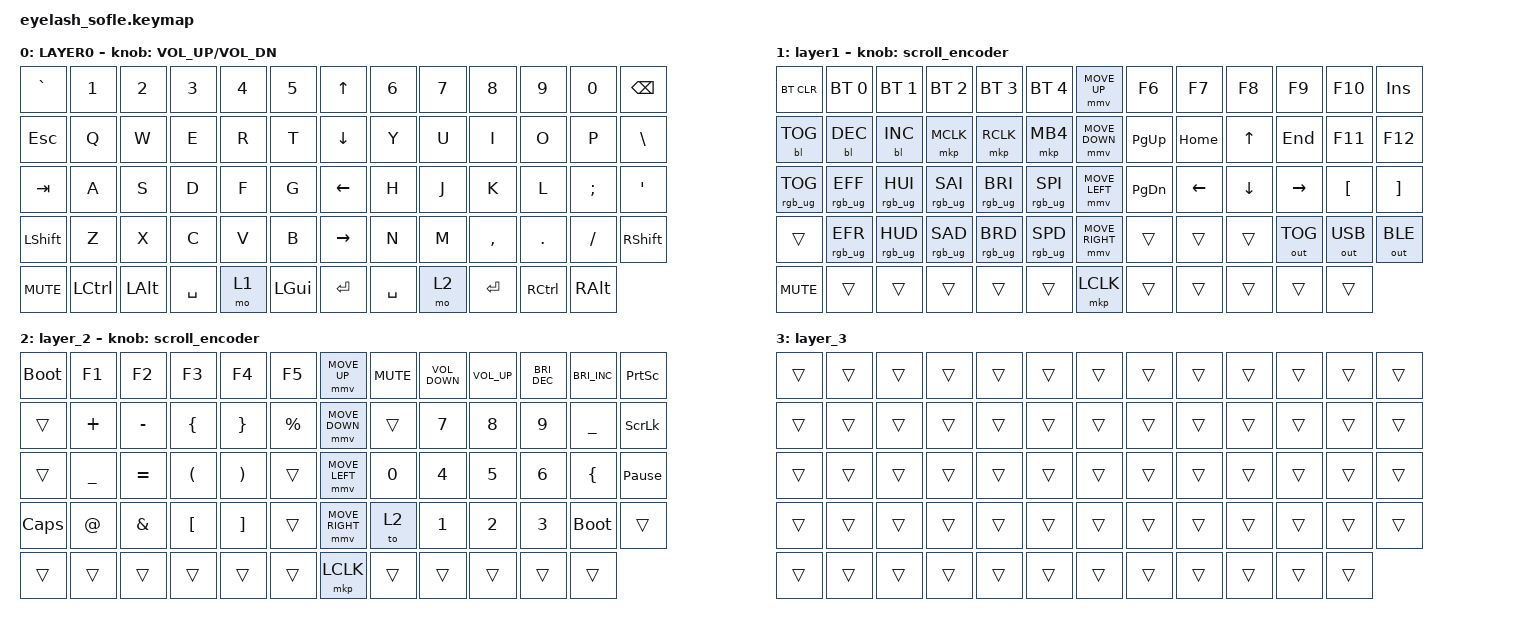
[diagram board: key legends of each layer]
#define ZMK_POINTING_DEFAULT_MOVE_VAL 1200  // 600
#define ZMK_POINTING_DEFAULT_SCRL_VAL 35    // 10

#include <input/processors.dtsi>
#include <zephyr/dt-bindings/input/input-event-codes.h>
#include <behaviors.dtsi>
#include <dt-bindings/zmk/backlight.h>
#include <dt-bindings/zmk/bt.h>
#include <dt-bindings/zmk/keys.h>
#include <dt-bindings/zmk/outputs.h>
#include <dt-bindings/zmk/pointing.h>
#include <dt-bindings/zmk/rgb.h>

/ {
    zip_scroll_scaler: zip_scroll_scaler {
        compatible = "zmk,input-processor-scaler";
        #input-processor-cells = <2>;
        type = <INPUT_EV_REL>;
        codes = <INPUT_REL_WHEEL INPUT_REL_HWHEEL>;
        track-remainders;
    };
};

&mmv_input_listener { input-processors = <&zip_xy_scaler 2 1>; };

&msc_input_listener { input-processors = <&zip_scroll_scaler 2 1>; };

&msc {
    acceleration-exponent = <0>;      // 0
    time-to-max-speed-ms = <0>;       // 300
    delay-ms = <0>;                   // 0
};

&mmv {
    time-to-max-speed-ms = <400>;
    acceleration-exponent = <1>;
};

/ {
    scroll_encoder: scroll_encoder {
        compatible = "zmk,behavior-sensor-rotate";
        #sensor-binding-cells = <0>;
        bindings = <&msc SCRL_DOWN>, <&msc SCRL_UP>;

        tap-ms = <30>;
    };

    behaviors {
    };

    keymap {
        compatible = "zmk,keymap";

        layer0 {
            bindings = <
&kp GRAVE   &kp N1     &kp N2        &kp N3     &kp N4  &kp N5          &kp UP_ARROW     &kp N6     &kp N7  &kp N8     &kp N9     &kp N0         &kp BACKSPACE
&kp ESCAPE  &kp Q      &kp W         &kp E      &kp R   &kp T           &kp DOWN_ARROW   &kp Y      &kp U   &kp I      &kp O      &kp P          &kp BSLH
&kp TAB     &kp A      &kp S         &kp D      &kp F   &kp G           &kp LEFT_ARROW   &kp H      &kp J   &kp K      &kp L      &kp SEMI       &kp APOS
&kp LSHFT   &kp Z      &kp X         &kp C      &kp V   &kp B           &kp RIGHT_ARROW  &kp N      &kp M   &kp COMMA  &kp DOT    &kp FSLH       &kp RIGHT_SHIFT
&kp C_MUTE  &kp LCTRL  &kp LEFT_ALT  &kp SPACE  &mo 1   &kp LEFT_GUI    &kp ENTER        &kp SPACE  &mo 2   &kp ENTER  &kp RCTRL  &kp RIGHT_ALT
            >;

            sensor-bindings = <&inc_dec_kp C_VOLUME_UP C_VOL_DN>;
            display-name = "LAYER0";
        };

        layer_1 {
            bindings = <
&bt BT_CLR       &bt BT_SEL 0     &bt BT_SEL 1     &bt BT_SEL 2     &bt BT_SEL 3     &bt BT_SEL 4       &mmv MOVE_UP     &kp F6     &kp F7    &kp F8    &kp F9        &kp F10           &kp INS
&bl BL_TOG       &bl BL_DEC       &bl BL_INC       &mkp MCLK        &mkp RCLK        &mkp MB4           &mmv MOVE_DOWN   &kp PG_UP  &kp HOME  &kp UP    &kp END       &kp F11           &kp F12
&rgb_ug RGB_TOG  &rgb_ug RGB_EFF  &rgb_ug RGB_HUI  &rgb_ug RGB_SAI  &rgb_ug RGB_BRI  &rgb_ug RGB_SPI    &mmv MOVE_LEFT   &kp PG_DN  &kp LEFT  &kp DOWN  &kp RIGHT     &kp LEFT_BRACKET  &kp RIGHT_BRACKET
&trans           &rgb_ug RGB_EFR  &rgb_ug RGB_HUD  &rgb_ug RGB_SAD  &rgb_ug RGB_BRD  &rgb_ug RGB_SPD    &mmv MOVE_RIGHT  &trans     &trans    &trans    &out OUT_TOG  &out OUT_USB      &out OUT_BLE
&kp C_MUTE       &trans           &trans           &trans           &trans           &trans             &mkp LCLK        &trans     &trans    &trans    &trans        &trans
            >;

            display-name = "layer1";
            sensor-bindings = <&scroll_encoder>;
        };

        layer_2 {
            bindings = <
&bootloader   &kp F1          &kp F2         &kp F3                &kp F4                 &kp F5         &mmv MOVE_UP     &kp K_MUTE  &kp C_VOLUME_DOWN  &kp C_VOLUME_UP  &kp C_BRIGHTNESS_DEC  &kp C_BRIGHTNESS_INC  &kp PRINTSCREEN
&trans        &kp PLUS        &kp MINUS      &kp LEFT_BRACE        &kp RIGHT_BRACE        &kp PERCENT    &mmv MOVE_DOWN   &trans      &kp N7             &kp N8           &kp N9                &kp UNDER             &kp SCROLLLOCK
&trans        &kp UNDERSCORE  &kp EQUAL      &kp LEFT_PARENTHESIS  &kp RIGHT_PARENTHESIS  &trans         &mmv MOVE_LEFT   &kp N0      &kp N4             &kp N5           &kp N6                &kp LBRC              &kp PAUSE_BREAK
&kp CAPSLOCK  &kp AT_SIGN     &kp AMPERSAND  &kp LEFT_BRACKET      &kp RIGHT_BRACKET      &trans         &mmv MOVE_RIGHT  &to 2       &kp N1             &kp N2           &kp N3                &bootloader           &trans
&trans        &trans          &trans         &trans                &trans                 &trans         &mkp LCLK        &trans      &trans             &trans           &trans                &trans
            >;

            sensor-bindings = <&scroll_encoder>;
        };

        layer_3 {
            bindings = <
&trans  &trans  &trans  &trans  &trans  &trans    &trans  &trans  &trans  &trans  &trans  &trans  &trans
&trans  &trans  &trans  &trans  &trans  &trans    &trans  &trans  &trans  &trans  &trans  &trans  &trans
&trans  &trans  &trans  &trans  &trans  &trans    &trans  &trans  &trans  &trans  &trans  &trans  &trans
&trans  &trans  &trans  &trans  &trans  &trans    &trans  &trans  &trans  &trans  &trans  &trans  &trans
&trans  &trans  &trans  &trans  &trans  &trans    &trans  &trans  &trans  &trans  &trans  &trans
            >;
        };
    };
};
